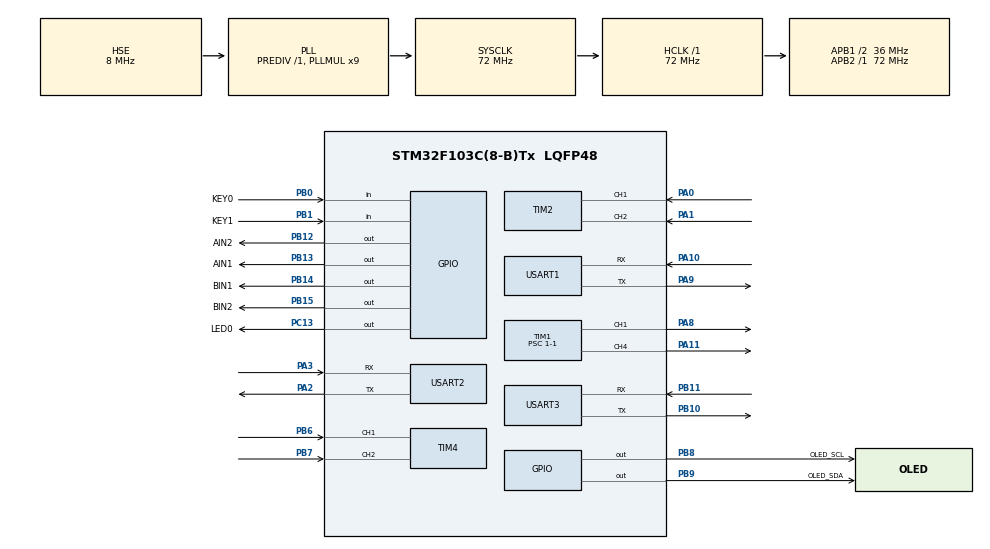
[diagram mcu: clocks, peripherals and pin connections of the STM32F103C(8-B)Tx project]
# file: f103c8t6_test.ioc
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Mcu.Family=STM32F1
Mcu.Name=STM32F103C(8-B)Tx
Mcu.Package=LQFP48
NVIC.PriorityGroup=NVIC_PRIORITYGROUP_2
NVIC.TIM2_IRQn=true\:3\:0\:true\:false\:true\:true\:true\:true
NVIC.TIM3_IRQn=true\:1\:0\:true\:false\:true\:true\:true\:true
NVIC.TIM4_IRQn=true\:3\:0\:true\:false\:true\:true\:true\:true
NVIC.USART1_IRQn=true\:2\:0\:true\:false\:true\:true\:true\:true
NVIC.USART2_IRQn=true\:2\:0\:true\:false\:true\:true\:true\:true
NVIC.USART3_IRQn=true\:2\:0\:true\:false\:true\:true\:true\:true
PA0-WKUP.GPIO_PuPd=GPIO_NOPULL
PA0-WKUP.Signal=S_TIM2_CH1_ETR
PA1.Signal=S_TIM2_CH2
PA10.Mode=Asynchronous
PA10.Signal=USART1_RX
PA11.Signal=S_TIM1_CH4
PA13.Mode=Serial_Wire
PA13.Signal=SYS_JTMS-SWDIO
PA14.Mode=Serial_Wire
PA14.Signal=SYS_JTCK-SWCLK
PA2.Mode=Asynchronous
PA2.Signal=USART2_TX
PA3.Mode=Asynchronous
PA3.Signal=USART2_RX
PA8.Signal=S_TIM1_CH1
PA9.Mode=Asynchronous
PA9.Signal=USART1_TX
PB0.GPIO_Label=KEY0
PB0.GPIO_PuPd=GPIO_PULLUP
PB0.Signal=GPIO_Input
PB1.GPIO_Label=KEY1
PB1.GPIO_PuPd=GPIO_PULLUP
PB1.Signal=GPIO_Input
PB10.Mode=Asynchronous
PB10.Signal=USART3_TX
PB11.Mode=Asynchronous
PB11.Signal=USART3_RX
PB12.GPIO_Label=AIN2
PB12.Signal=GPIO_Output
PB13.GPIO_Label=AIN1
PB13.Signal=GPIO_Output
PB14.GPIO_Label=BIN1
PB14.Signal=GPIO_Output
PB15.GPIO_Label=BIN2
PB15.Signal=GPIO_Output
PB6.Signal=S_TIM4_CH1
PB7.Signal=S_TIM4_CH2
PB8.GPIO_Label=OLED_SCL
PB8.GPIO_ModeDefaultOutputPP=GPIO_MODE_OUTPUT_OD
PB8.GPIO_PuPd=GPIO_NOPULL
PB8.GPIO_Speed=GPIO_SPEED_FREQ_HIGH
PB8.PinState=GPIO_PIN_RESET
PB8.Signal=GPIO_Output
PB9.GPIO_Label=OLED_SDA
PB9.GPIO_ModeDefaultOutputPP=GPIO_MODE_OUTPUT_OD
PB9.GPIO_PuPd=GPIO_NOPULL
PB9.Signal=GPIO_Output
PC13-TAMPER-RTC.GPIO_Label=LED0
PC13-TAMPER-RTC.PinState=GPIO_PIN_SET
PC13-TAMPER-RTC.Signal=GPIO_Output
PD0-OSC_IN.Mode=HSE-External-Oscillator
PD0-OSC_IN.Signal=RCC_OSC_IN
PD1-OSC_OUT.Mode=HSE-External-Oscillator
PD1-OSC_OUT.Signal=RCC_OSC_OUT
ProjectManager.HeapSize=0x200
ProjectManager.StackSize=0x400
ProjectManager.TargetToolchain=MDK-ARM V5.32
RCC.AHBFreq_Value=72000000
RCC.APB1CLKDivider=RCC_HCLK_DIV2
RCC.APB1Freq_Value=36000000
RCC.APB1TimFreq_Value=72000000
RCC.APB2Freq_Value=72000000
RCC.APB2TimFreq_Value=72000000
RCC.HCLKFreq_Value=72000000
RCC.PLLMUL=RCC_PLL_MUL9
RCC.PLLSourceVirtual=RCC_PLLSOURCE_HSE
RCC.SYSCLKFreq_VALUE=72000000
RCC.SYSCLKSource=RCC_SYSCLKSOURCE_PLLCLK
RCC.USBFreq_Value=72000000
SH.S_TIM1_CH1.0=TIM1_CH1,PWM Generation1 CH1
SH.S_TIM1_CH4.0=TIM1_CH4,PWM Generation4 CH4
SH.S_TIM2_CH1_ETR.0=TIM2_CH1,Encoder_Interface
SH.S_TIM2_CH2.0=TIM2_CH2,Encoder_Interface
SH.S_TIM4_CH1.0=TIM4_CH1,Encoder_Interface
SH.S_TIM4_CH2.0=TIM4_CH2,Encoder_Interface
TIM1.AutoReloadPreload=TIM_AUTORELOAD_PRELOAD_ENABLE
TIM1.Channel-PWM\ Generation1\ CH1=TIM_CHANNEL_1
TIM1.Channel-PWM\ Generation4\ CH4=TIM_CHANNEL_4
TIM1.Period=7200-1
TIM1.Prescaler=1-1
TIM2.EncoderMode=TIM_ENCODERMODE_TI12
TIM2.IC1Filter=10
TIM2.IC2Filter=10
TIM3.Period=200-1
TIM3.Prescaler=7200-1
TIM4.EncoderMode=TIM_ENCODERMODE_TI12
TIM4.IC1Filter=10
TIM4.IC2Filter=10
USART1.VirtualMode=VM_ASYNC
USART2.VirtualMode=VM_ASYNC
USART3.VirtualMode=VM_ASYNC
VP_TIM3_VS_ClockSourceINT.Mode=Internal
board=custom

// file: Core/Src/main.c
/* USER CODE BEGIN Header */
/**
  ******************************************************************************
  * @file           : main.c
  * @brief          : Main program body
  ******************************************************************************
  * @attention
  *
  * Copyright (c) 2024 STMicroelectronics.
  * All rights reserved.
  *
  * This software is licensed under terms that can be found in the LICENSE file
  * in the root directory of this software component.
  * If no LICENSE file comes with this software, it is provided AS-IS.
  *
  ******************************************************************************
  */
/* USER CODE END Header */
#include "main.h"
#include "tim.h"
#include "usart.h"
#include "gpio.h"

/* USER CODE BEGIN Includes */
#include "oled.h"
#include "bmp.h"
#include "encoder.h"
#include "motor.h"
#include "pid.h"
#include "control.h"
#include "protocol.h"

/* USER CODE END Includes */

/* USER CODE BEGIN PM */
uint8_t oledstring[50];
uint8_t usart1string[50];

/* USER CODE END PM */

void SystemClock_Config(void);

int main(void)
{

  /* MCU Configuration--------------------------------------------------------*/

  /* Reset of all peripherals, Initializes the Flash interface and the Systick. */
  HAL_Init();

  /* Configure the system clock */
  SystemClock_Config();

  /* Initialize all configured peripherals */
  MX_GPIO_Init();
  MX_TIM1_Init();
  MX_TIM2_Init();
  MX_TIM4_Init();
  MX_TIM3_Init();
  MX_USART1_UART_Init();
  MX_USART2_UART_Init();
  MX_USART3_UART_Init();
  /* USER CODE BEGIN 2 */

  HAL_TIM_Encoder_Start(&htim2,TIM_CHANNEL_ALL);//开启定时器2 编码器模式
  HAL_TIM_Encoder_Start(&htim4,TIM_CHANNEL_ALL);//开启定时器4 编码器模式
  HAL_TIM_Base_Start_IT(&htim2);                //开启定时器2 中断
  HAL_TIM_Base_Start_IT(&htim4);                //开启定时器4 中断

  set_motor1_enable();
  set_motor2_enable();

  HAL_TIM_PWM_Start(&htim1,TIM_CHANNEL_4);//开启定时器1 通道4 PWM输出
  HAL_TIM_PWM_Start(&htim1,TIM_CHANNEL_1);//开启定时器1 通道1 PWM输出

  HAL_TIM_Base_Start_IT(&htim3); //开启定时器3中断

  pid_param_init();

  __HAL_UART_ENABLE_IT(&huart1,UART_IT_RXNE);    //串口1接收中断，只开启接收中断，与上位机通信

  protocol_init();       //这个初始化了才能通过上位机控制呀, 再看这个注意事项

  OLED_Init(); //OLED初始化
  OLED_ColorTurn(0);//0正常显示，1 反色显示
  OLED_DisplayTurn(0);//0正常显示 1 屏幕翻转显示

//  car_go(100);
//  load_motor_pwm(3000,3000);
  /* USER CODE END 2 */

  /* Infinite loop */
  /* USER CODE BEGIN WHILE */
  while (1)
  {
      receiving_process();//解析野火上位机通信协议,调试电机位置速度串级PID时用,不用时注释

      sprintf((char *)oledstring,"motor1:%d",g_sigma_motor1pluse);//显示单位时间脉冲数
      OLED_ShowString(0,0,oledstring,8,1);  //显示在OLED上
      sprintf((char *)oledstring,"jour1:%.2f",g_motor1_journey_cm);//显示总里程数
      OLED_ShowString(0,8,oledstring,8,1);  //显示在OLED上

      sprintf((char *)oledstring,"motor2:%d",g_sigma_motor2pluse);//显示单位时间脉冲数
      OLED_ShowString(0,16,oledstring,8,1);  //显示在OLED上
      sprintf((char *)oledstring,"jour2:%.2f",g_motor2_journey_cm);//显示总里程数
      OLED_ShowString(0,24,oledstring,8,1);  //显示在OLED上

      OLED_Refresh();

//      HAL_GPIO_TogglePin(LED0_GPIO_Port,LED0_Pin);
    /* USER CODE END WHILE */

  }
}

void SystemClock_Config(void)
{
  RCC_OscInitTypeDef RCC_OscInitStruct = {0};
  RCC_ClkInitTypeDef RCC_ClkInitStruct = {0};

  /** Initializes the RCC Oscillators according to the specified parameters
  * in the RCC_OscInitTypeDef structure.
  */
  RCC_OscInitStruct.OscillatorType = RCC_OSCILLATORTYPE_HSE;
  RCC_OscInitStruct.HSEState = RCC_HSE_ON;
  RCC_OscInitStruct.HSEPredivValue = RCC_HSE_PREDIV_DIV1;
  RCC_OscInitStruct.HSIState = RCC_HSI_ON;
  RCC_OscInitStruct.PLL.PLLState = RCC_PLL_ON;
  RCC_OscInitStruct.PLL.PLLSource = RCC_PLLSOURCE_HSE;
  RCC_OscInitStruct.PLL.PLLMUL = RCC_PLL_MUL9;
  if (HAL_RCC_OscConfig(&RCC_OscInitStruct) != HAL_OK)
  {
    Error_Handler();
  }

  /** Initializes the CPU, AHB and APB buses clocks
  */
  RCC_ClkInitStruct.ClockType = RCC_CLOCKTYPE_HCLK|RCC_CLOCKTYPE_SYSCLK
                              |RCC_CLOCKTYPE_PCLK1|RCC_CLOCKTYPE_PCLK2;
  RCC_ClkInitStruct.SYSCLKSource = RCC_SYSCLKSOURCE_PLLCLK;
  RCC_ClkInitStruct.AHBCLKDivider = RCC_SYSCLK_DIV1;
  RCC_ClkInitStruct.APB1CLKDivider = RCC_HCLK_DIV2;
  RCC_ClkInitStruct.APB2CLKDivider = RCC_HCLK_DIV1;

  if (HAL_RCC_ClockConfig(&RCC_ClkInitStruct, FLASH_LATENCY_2) != HAL_OK)
  {
    Error_Handler();
  }
}

void Error_Handler(void)
{
  __disable_irq();
  while (1)
  {
  }
}
